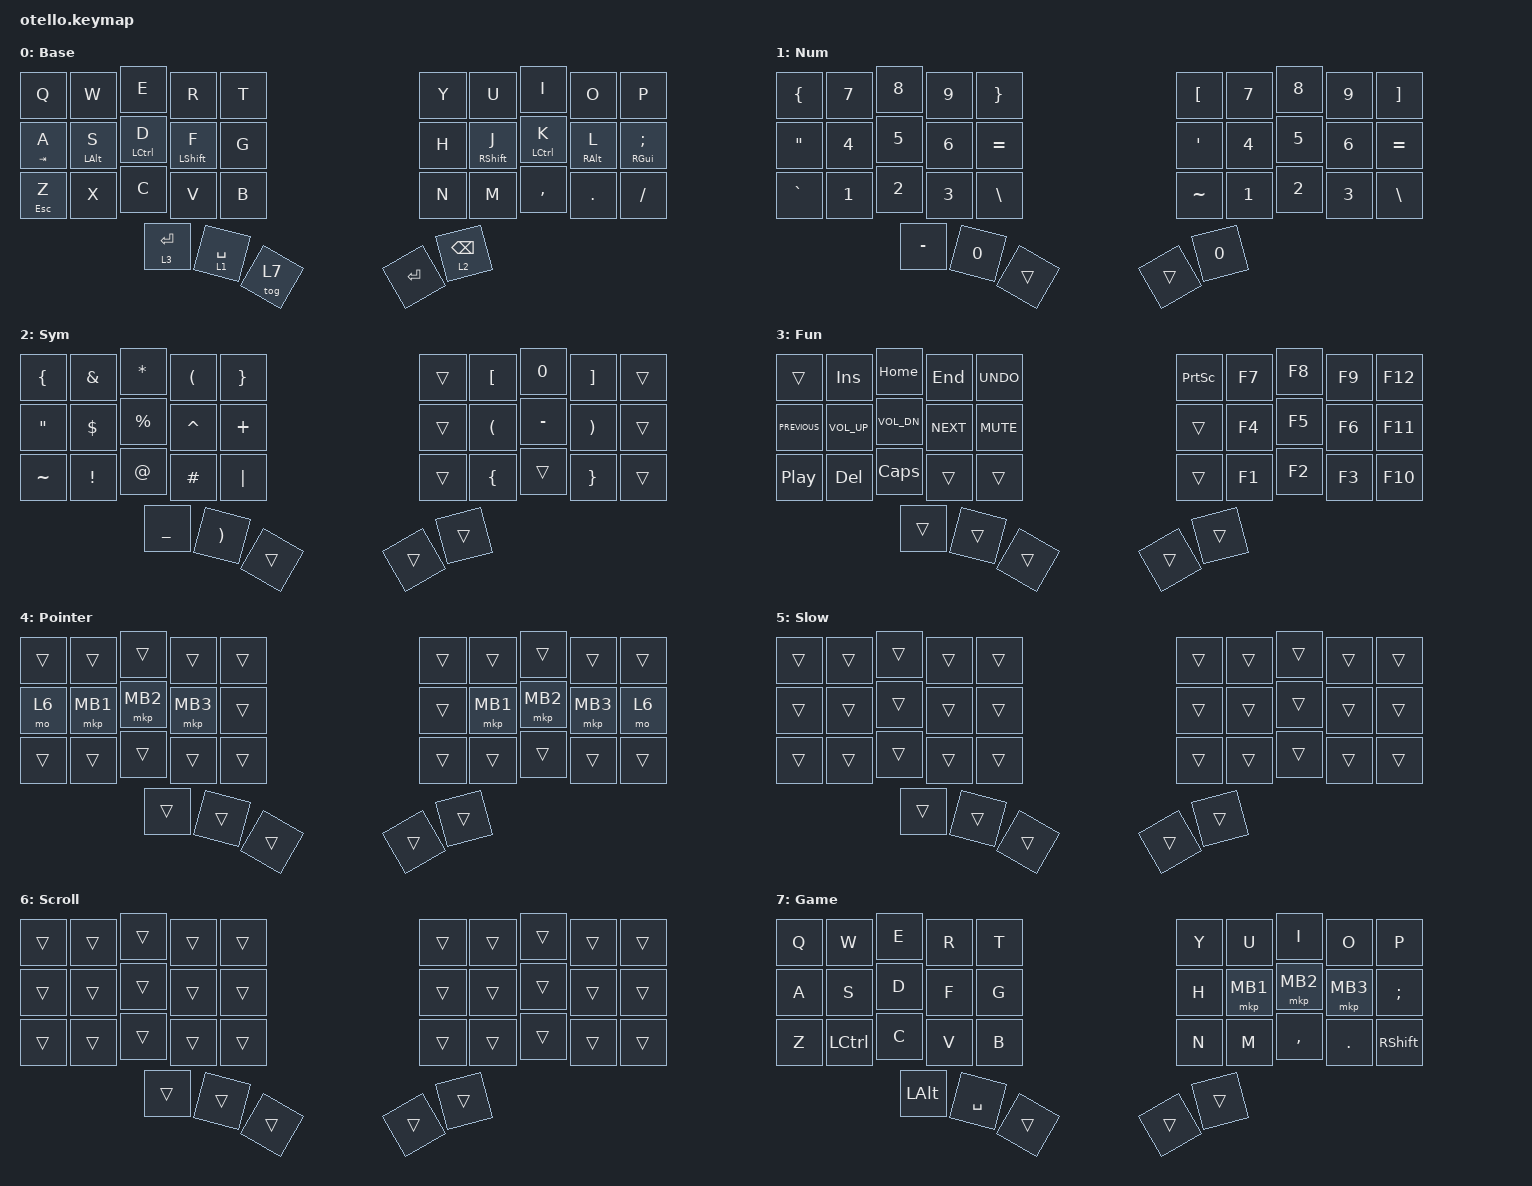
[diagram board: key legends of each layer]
/* upstream bindings and behaviors */

#include <dt-bindings/zmk/mouse.h>
#include <behaviors/mouse_keys.dtsi>
#include <behaviors.dtsi>
#include <dt-bindings/zmk/keys.h>
#include <dt-bindings/zmk/pointing.h>

/* local overlays */

/ {
      /* --- KEYMAP CONFIG (3x5) --- */
    // ╭──────┬──────┬──────┬──────┬──────╮          ╭──────┬──────┬──────┬──────┬──────╮
    //    00     01     02     03    04                 05     06     07     08     09
    // ├──────┼──────┼──────┼──────┼──────┤          ├──────┼──────┼──────┼──────┼──────┤
    //    10     11     12     13    14                 15     16     17     18     19
    // ├──────┼──────┼──────┼──────┼──────┤          ├──────┼──────┼──────┼──────┼──────┤
    //    20     21     22     23    24                 25     26     27     28     29
    // ╰──────┴──────┴──────┼──────┼──────┼──────┤   ├──────┼──────┼──────┴──────┴──────╯
    //                         30     31     32         33     34
    //                      ╰──────┴──────┴──────╯   ╰──────┴──────╯

    behaviors {
        hm: homerow_mods {
            compatible = "zmk,behavior-hold-tap";
            label = "HOMEROW_MODS";
            bindings = <&kp>, <&kp>;

            #binding-cells = <2>;
            tapping-term-ms = <160>;
            quick-tap-ms = <140>;
            flavor = "tap-preferred";
        };
    };

    keymap {
        compatible = "zmk,keymap";

        BASE {
            display-name = "Base";
            bindings = <
  &kp Q         &kp W           &kp E        &kp R         &kp T     &kp Y      &kp U            &kp I        &kp O            &kp P
  &hm TAB A     &hm LEFT_ALT S  &hm LCTRL D  &hm LSHIFT F  &kp G     &kp H      &hm RSHIFT J     &hm LCTRL K  &hm RIGHT_ALT L  &hm RIGHT_GUI SEMICOLON
  &hm ESCAPE Z  &kp X           &kp C        &kp V         &kp B     &kp N      &kp M            &kp COMMA    &kp PERIOD       &kp SLASH
                                &lt 3 ENTER  &lt 1 SPACE   &tog 7    &kp ENTER  &lt 2 BACKSPACE
            >;
        };

        NUM {
            display-name = "Num";
            bindings = <
  &kp LEFT_BRACE     &kp N7  &kp N8     &kp N9  &kp RIGHT_BRACE    &kp LEFT_BRACKET  &kp N7  &kp N8  &kp N9  &kp RIGHT_BRACKET
  &kp DOUBLE_QUOTES  &kp N4  &kp N5     &kp N6  &kp EQUAL          &kp SQT           &kp N4  &kp N5  &kp N6  &kp EQUAL
  &kp GRAVE          &kp N1  &kp N2     &kp N3  &kp BACKSLASH      &kp TILDE         &kp N1  &kp N2  &kp N3  &kp BACKSLASH
                             &kp MINUS  &kp N0  &trans             &trans            &kp N0
            >;

            label = "Num";
        };

        SYM {
            display-name = "Sym";
            bindings = <
  &kp LEFT_BRACE     &kp AMPERSAND    &kp ASTERISK  &kp LEFT_PARENTHESIS   &kp RIGHT_BRACE    &trans  &kp LEFT_BRACKET      &kp N0     &kp RIGHT_BRACKET      &trans
  &kp DOUBLE_QUOTES  &kp DOLLAR       &kp PERCENT   &kp CARET              &kp PLUS           &trans  &kp LEFT_PARENTHESIS  &kp MINUS  &kp RIGHT_PARENTHESIS  &trans
  &kp TILDE          &kp EXCLAMATION  &kp AT_SIGN   &kp HASH               &kp PIPE           &trans  &kp LEFT_BRACE        &trans     &kp RIGHT_BRACE        &trans
                                      &kp UNDER     &kp RIGHT_PARENTHESIS  &trans             &trans  &trans
            >;

            label = "Sym";
        };

        FUN {
            display-name = "Fun";
            bindings = <
  &trans            &kp INSERT       &kp HOME      &kp END     &kp K_UNDO    &kp PRINTSCREEN  &kp F7  &kp F8  &kp F9  &kp F12
  &kp C_PREVIOUS    &kp C_VOLUME_UP  &kp C_VOL_DN  &kp C_NEXT  &kp C_MUTE    &trans           &kp F4  &kp F5  &kp F6  &kp F11
  &kp C_PLAY_PAUSE  &kp DELETE       &kp CAPS      &trans      &trans        &trans           &kp F1  &kp F2  &kp F3  &kp F10
                                     &trans        &trans      &trans        &trans           &trans
            >;

            label = "Fun";
        };

        POINTER {
            display-name = "Pointer";
            bindings = <
  &trans  &trans    &trans    &trans    &trans    &trans  &trans    &trans    &trans    &trans
  &mo 6   &mkp MB1  &mkp MB2  &mkp MB3  &trans    &trans  &mkp MB1  &mkp MB2  &mkp MB3  &mo 6
  &trans  &trans    &trans    &trans    &trans    &trans  &trans    &trans    &trans    &trans
                    &trans    &trans    &trans    &trans  &trans
            >;
        };

        SLOW {
            display-name = "Slow";
            bindings = <
  &trans  &trans  &trans  &trans  &trans    &trans  &trans  &trans  &trans  &trans
  &trans  &trans  &trans  &trans  &trans    &trans  &trans  &trans  &trans  &trans
  &trans  &trans  &trans  &trans  &trans    &trans  &trans  &trans  &trans  &trans
                  &trans  &trans  &trans    &trans  &trans
            >;
        };

        SCROLL {
            display-name = "Scroll";
            bindings = <
  &trans  &trans  &trans  &trans  &trans    &trans  &trans  &trans  &trans  &trans
  &trans  &trans  &trans  &trans  &trans    &trans  &trans  &trans  &trans  &trans
  &trans  &trans  &trans  &trans  &trans    &trans  &trans  &trans  &trans  &trans
                  &trans  &trans  &trans    &trans  &trans
            >;
        };

        GAME {
            display-name = "Game";
            bindings = <
  &kp Q      &kp W  &kp E         &kp R      &kp T     &kp Y   &kp U     &kp I      &kp O     &kp P
  &kp A      &kp S  &kp D         &kp F      &kp G     &kp H   &mkp MB1  &mkp MB2   &mkp MB3  &kp SEMI
  &kp Z      &kp LCTRL  &kp C         &kp V      &kp B     &kp N   &kp M     &kp COMMA  &kp DOT   &kp RSHFT
                    &kp LEFT_ALT  &kp SPACE  &trans    &trans  &trans
            >;

            label = "Game";
        };
    };
};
